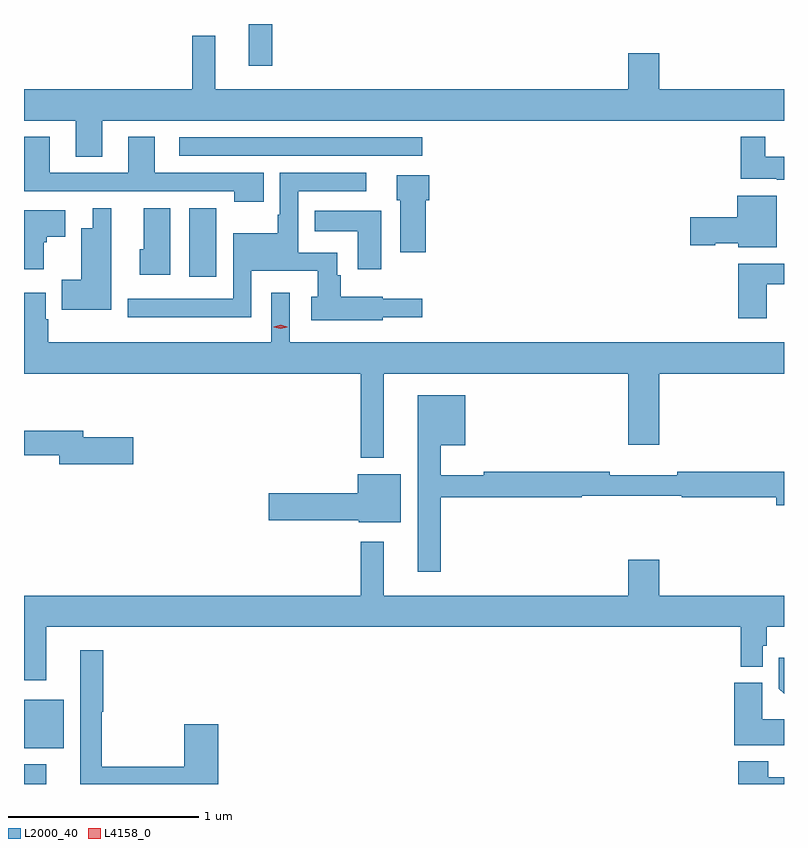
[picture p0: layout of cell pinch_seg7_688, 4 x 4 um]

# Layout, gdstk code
import gdstk
lib = gdstk.Library(unit=1e-6, precision=1e-09)
def R(c, l, rs):  # rectangles x0, y0, x1, y1
    for r in rs: c.add(gdstk.rectangle(r[:2], r[2:], *l))
def P(c, l, *ps):  # polygons
    for p in ps: c.add(gdstk.Polygon(p, *l))
L2000_40 = (2000, 40)
L4158_0 = (4158, 0)

pinch_seg7_688 = lib.new_cell('pinch_seg7_688')
R(pinch_seg7_688, L2000_40, [(365.625,1010.444,365.743,1010.548), (365.625,1010.633,365.833,1010.887), (366.494,1013.115,366.637,1013.473), (366.441,1013.751,367.72,1013.847), (366.809,1014.225,366.931,1014.444)])
P(pinch_seg7_688, L2000_40, [(366.037,1013.936),(369.625,1013.936),(369.625,1014.1),(368.968,1014.1),(368.968,1014.289),(368.804,1014.289),(368.804,1014.1),(366.631,1014.1),(366.631,1014.382),(366.51,1014.382),(366.51,1014.1),(365.625,1014.1),(365.625,1013.936),(365.897,1013.936),(365.897,1013.746),(366.037,1013.746)],
  [(369.625,1013.746),(369.526,1013.746),(369.526,1013.851),(369.397,1013.851),(369.397,1013.63),(369.588,1013.63),(369.588,1013.624),(369.625,1013.624)],
  [(366.887,1013.661),(366.313,1013.661),(366.313,1013.851),(366.173,1013.851),(366.173,1013.661),(365.761,1013.661),(365.761,1013.851),(365.625,1013.851),(365.625,1013.565),(366.731,1013.565),(366.731,1013.508),(366.887,1013.508)],
  [(367.512,1012.901),(367.72,1012.901),(367.72,1012.999),(367.512,1012.999),(367.512,1013.008),(367.291,1013.008),(367.291,1013.121),(367.273,1013.121),(367.273,1013.241),(367.068,1013.241),(367.068,1013.565),(367.426,1013.565),(367.426,1013.661),(366.972,1013.661),(366.972,1013.44),(366.96,1013.44),(366.96,1013.344),(366.726,1013.344),(366.726,1012.998),(366.17,1012.998),(366.17,1012.901),(366.822,1012.901),(366.822,1013.145),(367.172,1013.145),(367.172,1013.008),(367.136,1013.008),(367.136,1012.886),(367.512,1012.886)],
  [(367.739,1013.517),(367.757,1013.517),(367.757,1013.647),(367.586,1013.647),(367.586,1013.517),(367.604,1013.517),(367.604,1013.244),(367.739,1013.244)],
  [(369.586,1013.54),(369.38,1013.54),(369.38,1013.426),(369.132,1013.426),(369.132,1013.279),(369.264,1013.279),(369.264,1013.291),(369.384,1013.291),(369.384,1013.27),(369.586,1013.27)],
  [(366.394,1013.473),(366.254,1013.473),(366.254,1013.259),(366.233,1013.259),(366.233,1013.123),(366.394,1013.123)],
  [(366.085,1013.473),(365.987,1013.473),(365.987,1013.368),(365.927,1013.368),(365.927,1013.098),(365.824,1013.098),(365.824,1012.94),(366.085,1012.94)],
  [(365.728,1013.295),(365.746,1013.295),(365.746,1013.324),(365.842,1013.324),(365.842,1013.464),(365.625,1013.464),(365.625,1013.154),(365.728,1013.154)],
  [(367.504,1013.461),(367.155,1013.461),(367.155,1013.354),(367.382,1013.354),(367.382,1013.154),(367.504,1013.154)],
  [(369.535,1013.073),(369.625,1013.073),(369.625,1013.183),(369.383,1013.183),(369.383,1012.896),(369.535,1012.896)],
  [(367.519,1012.604),(368.804,1012.604),(368.804,1012.23),(368.968,1012.23),(368.968,1012.604),(369.625,1012.604),(369.625,1012.768),(367.023,1012.768),(367.023,1013.029),(366.927,1013.029),(366.927,1012.768),(365.752,1012.768),(365.752,1012.89),(365.739,1012.89),(365.739,1013.029),(365.625,1013.029),(365.625,1012.604),(367.398,1012.604),(367.398,1012.16),(367.519,1012.16)],
  [(367.819,1011.952),(368.561,1011.952),(368.561,1011.96),(369.088,1011.96),(369.088,1011.952),(369.584,1011.952),(369.584,1011.91),(369.625,1011.91),(369.625,1012.088),(369.064,1012.088),(369.064,1012.069),(368.708,1012.069),(368.708,1012.088),(368.044,1012.088),(368.044,1012.069),(367.819,1012.069),(367.819,1012.226),(367.948,1012.226),(367.948,1012.489),(367.697,1012.489),(367.697,1011.561),(367.819,1011.561)],
  [(366.199,1012.269),(365.938,1012.269),(365.938,1012.303),(365.625,1012.303),(365.625,1012.174),(365.81,1012.174),(365.81,1012.127),(366.199,1012.127)],
  [(367.609,1012.075),(367.382,1012.075),(367.382,1011.974),(366.912,1011.974),(366.912,1011.832),(367.386,1011.832),(367.386,1011.821),(367.609,1011.821)],
  [(365.743,1011.272),(369.397,1011.272),(369.397,1011.062),(369.513,1011.062),(369.513,1011.171),(369.533,1011.171),(369.533,1011.272),(369.625,1011.272),(369.625,1011.436),(368.968,1011.436),(368.968,1011.625),(368.804,1011.625),(368.804,1011.436),(367.519,1011.436),(367.519,1011.718),(367.398,1011.718),(367.398,1011.436),(365.625,1011.436),(365.625,1010.991),(365.743,1010.991)],
  [(366.647,1010.758),(366.469,1010.758),(366.469,1010.534),(366.035,1010.534),(366.035,1010.823),(366.043,1010.823),(366.043,1011.148),(365.921,1011.148),(365.921,1010.444),(366.647,1010.444)],
  [(369.625,1011.109),(369.598,1011.109),(369.598,1010.946),(369.625,1010.919)],
  [(369.625,1010.786),(369.511,1010.786),(369.511,1010.977),(369.362,1010.977),(369.362,1010.648),(369.625,1010.648)],
  [(369.625,1010.479),(369.543,1010.479),(369.543,1010.563),(369.383,1010.563),(369.383,1010.444),(369.625,1010.444)])
P(pinch_seg7_688, L4158_0, [(366.975,1012.84),(366.94,1012.849),(366.94,1012.85),(366.94,1012.85),(366.975,1012.86),(367.01,1012.85),(367.01,1012.85),(367.01,1012.849)])

lib.write_gds('pinch_seg7_688.gds')
